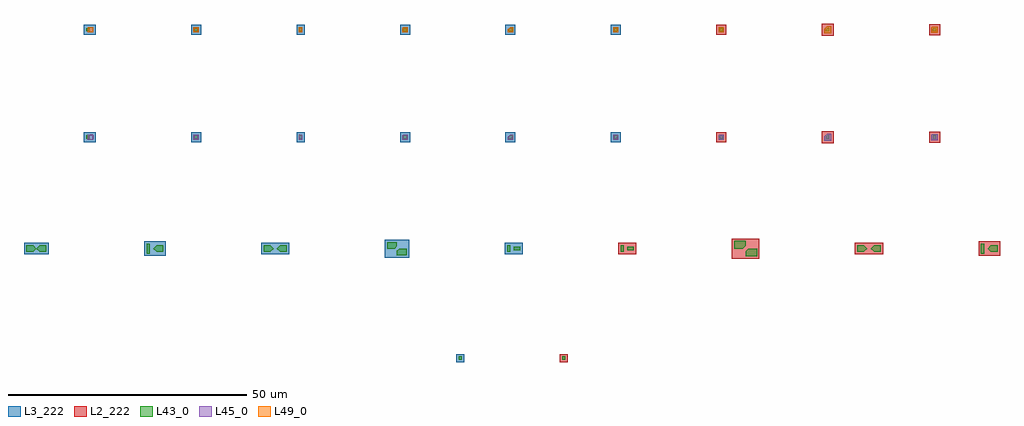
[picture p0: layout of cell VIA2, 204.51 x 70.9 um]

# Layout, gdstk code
from math import pi, radians
import gdstk
lib = gdstk.Library(unit=1e-6, precision=5e-09)
def R(c, l, rs):  # rectangles x0, y0, x1, y1
    for r in rs: c.add(gdstk.rectangle(r[:2], r[2:], *l))
def P(c, l, *ps):  # polygons
    for p in ps: c.add(gdstk.Polygon(p, *l))
L2_222 = (2, 222)
L3_222 = (3, 222)
L43_0 = (43, 0)
L45_0 = (45, 0)
L49_0 = (49, 0)

compass_layervia2_size0p = lib.new_cell('compass_layerVIA2_size0p7__0p7')
R(compass_layervia2_size0p, L43_0, [(-0.35,-0.35,0.35,0.35)])

rectangle_layervia2_size = lib.new_cell('rectangle_layerVIA2_size0p7__0p7')
rectangle_layervia2_size.add(gdstk.Reference(compass_layervia2_size0p, (0.35,0.35)))

compass_b2efa8bb = lib.new_cell('compass_b2efa8bb')
R(compass_b2efa8bb, L2_222, [(-0.85,-0.85,0.85,0.85)])

rectangle_b2efa8bb = lib.new_cell('rectangle_b2efa8bb')
rectangle_b2efa8bb.add(gdstk.Reference(compass_b2efa8bb, (0.85,0.85)))

pass_fail_mk_0a0abb23 = lib.new_cell('pass_fail_mk_0a0abb23')
pass_fail_mk_0a0abb23.add(gdstk.Reference(rectangle_b2efa8bb, (-0.5,-0.5)))
pass_fail_mk_0a0abb23.add(gdstk.Label('via2.w.1', (-0.25,-0.25), layer=11, texttype=222))

c_compass_layervia2_size0p = lib.new_cell('compass_layerVIA2_size0p69__0p69')
R(c_compass_layervia2_size0p, L43_0, [(-0.345,-0.345,0.345,0.345)])

c_rectangle_layervia2_size = lib.new_cell('rectangle_layerVIA2_size0p69__0p69')
c_rectangle_layervia2_size.add(gdstk.Reference(c_compass_layervia2_size0p, (0.345,0.345)))

compass_bd24d7c0 = lib.new_cell('compass_bd24d7c0')
R(compass_bd24d7c0, L3_222, [(-0.845,-0.845,0.845,0.845)])

rectangle_bd24d7c0 = lib.new_cell('rectangle_bd24d7c0')
rectangle_bd24d7c0.add(gdstk.Reference(compass_bd24d7c0, (0.845,0.845)))

pass_fail_mk_87252b39 = lib.new_cell('pass_fail_mk_87252b39')
pass_fail_mk_87252b39.add(gdstk.Reference(rectangle_bd24d7c0, (-0.5,-0.5)))
pass_fail_mk_87252b39.add(gdstk.Label('via2.w.1', (-0.25,-0.25), layer=11, texttype=222))

size_patterns_width0_7_l = lib.new_cell('size_patterns_width0.7_layerVIA2')
size_patterns_width0_7_l.add(gdstk.Reference(rectangle_layervia2_size, (0,0)))
size_patterns_width0_7_l.add(gdstk.Reference(pass_fail_mk_0a0abb23, (0,0)))
size_patterns_width0_7_l.add(gdstk.Reference(c_rectangle_layervia2_size, (-21.69,0.005)))
size_patterns_width0_7_l.add(gdstk.Reference(pass_fail_mk_87252b39, (-21.69,0.005)))

c_compass_layervia2_size0p_ = lib.new_cell('compass_layerVIA2_size0p7__1p4')
R(c_compass_layervia2_size0p_, L43_0, [(-0.35,-0.7,0.35,0.7)])

c_rectangle_layervia2_size_ = lib.new_cell('rectangle_layerVIA2_size0p7__1p4')
c_rectangle_layervia2_size_.add(gdstk.Reference(c_compass_layervia2_size0p_, (0.35,0.7)))

compass_layervia2_size1p = lib.new_cell('compass_layerVIA2_size1p4__0p7')
R(compass_layervia2_size1p, L43_0, [(-0.7,-0.35,0.7,0.35)])

c_rectangle_layervia2_size__ = lib.new_cell('rectangle_layerVIA2_size1p4__0p7')
c_rectangle_layervia2_size__.add(gdstk.Reference(compass_layervia2_size1p, (0.7,0.35)))

space_basic_spacing0_7_l = lib.new_cell('space_basic_spacing0.7_layer1VIA2_layer2VIA2')
space_basic_spacing0_7_l.add(gdstk.Reference(c_rectangle_layervia2_size_, (-0.7,1.05), rotation=pi))
space_basic_spacing0_7_l.add(gdstk.Reference(c_rectangle_layervia2_size__, (0,0)))

compass_77408f74 = lib.new_cell('compass_77408f74')
R(compass_77408f74, L2_222, [(-1.9,-1.2,1.9,1.2)])

rectangle_77408f74 = lib.new_cell('rectangle_77408f74')
rectangle_77408f74.add(gdstk.Reference(compass_77408f74, (1.9,1.2)))

pass_fail_mk_3b77fa31 = lib.new_cell('pass_fail_mk_3b77fa31')
pass_fail_mk_3b77fa31.add(gdstk.Reference(rectangle_77408f74, (-1.9,-0.85)))
pass_fail_mk_3b77fa31.add(gdstk.Label('via2.s.1', (-1.65,-0.6), layer=11, texttype=222))

space_basic_spacing0_69_ = lib.new_cell('space_basic_spacing0.69_layer1VIA2_layer2VIA2')
space_basic_spacing0_69_.add(gdstk.Reference(c_rectangle_layervia2_size_, (-0.69,1.05), rotation=pi))
space_basic_spacing0_69_.add(gdstk.Reference(c_rectangle_layervia2_size__, (0,0)))

compass_235e8b68 = lib.new_cell('compass_235e8b68')
R(compass_235e8b68, L3_222, [(-1.895,-1.2,1.895,1.2)])

rectangle_235e8b68 = lib.new_cell('rectangle_235e8b68')
rectangle_235e8b68.add(gdstk.Reference(compass_235e8b68, (1.895,1.2)))

pass_fail_mk_beb85390 = lib.new_cell('pass_fail_mk_beb85390')
pass_fail_mk_beb85390.add(gdstk.Reference(rectangle_235e8b68, (-1.89,-0.85)))
pass_fail_mk_beb85390.add(gdstk.Label('via2.s.1', (-1.64,-0.6), layer=11, texttype=222))

boolean_710292b4 = lib.new_cell('boolean_710292b4')
P(boolean_710292b4, L43_0, [(2.4,1.6),(0.57,1.6),(0,1.035),(0,0),(2.4,0)])

space_45deg_spacing0_799 = lib.new_cell('space_45deg_spacing0.7999999999999999_layer1VIA2_layer2VIA2')
space_45deg_spacing0_799.add(gdstk.Reference(boolean_710292b4, (0,0)))
space_45deg_spacing0_799.add(gdstk.Reference(boolean_710292b4, (0,3.2), rotation=pi))

compass_ca9d0b4a = lib.new_cell('compass_ca9d0b4a')
R(compass_ca9d0b4a, L2_222, [(-2.9,-2.1,2.9,2.1)])

rectangle_ca9d0b4a = lib.new_cell('rectangle_ca9d0b4a')
rectangle_ca9d0b4a.add(gdstk.Reference(compass_ca9d0b4a, (2.9,2.1)))

pass_fail_mk_4ae509f5 = lib.new_cell('pass_fail_mk_4ae509f5')
pass_fail_mk_4ae509f5.add(gdstk.Reference(rectangle_ca9d0b4a, (-2.9,-0.5)))
pass_fail_mk_4ae509f5.add(gdstk.Label('via2.s.1', (-2.65,-0.25), layer=11, texttype=222))

boolean_bac0e59e = lib.new_cell('boolean_bac0e59e')
P(boolean_bac0e59e, L43_0, [(2.07,1.38),(0.49,1.38),(0,0.89),(0,0),(2.07,0)])

space_45deg_spacing0_69_ = lib.new_cell('space_45deg_spacing0.69_layer1VIA2_layer2VIA2')
space_45deg_spacing0_69_.add(gdstk.Reference(boolean_bac0e59e, (0,0)))
space_45deg_spacing0_69_.add(gdstk.Reference(boolean_bac0e59e, (0,2.76), rotation=pi))

compass_da3c626a = lib.new_cell('compass_da3c626a')
R(compass_da3c626a, L3_222, [(-2.57,-1.88,2.57,1.88)])

rectangle_da3c626a = lib.new_cell('rectangle_da3c626a')
rectangle_da3c626a.add(gdstk.Reference(compass_da3c626a, (2.57,1.88)))

pass_fail_mk_4006faf3 = lib.new_cell('pass_fail_mk_4006faf3')
pass_fail_mk_4006faf3.add(gdstk.Reference(rectangle_da3c626a, (-2.57,-0.5)))
pass_fail_mk_4006faf3.add(gdstk.Label('via2.s.1', (-2.32,-0.25), layer=11, texttype=222))

boolean_8b945e49 = lib.new_cell('boolean_8b945e49')
P(boolean_8b945e49, L43_0, [(0,0),(1.4,0),(1.4,1.4),(0,1.4),(-0.7,0.7)])

boolean_934e1363 = lib.new_cell('boolean_934e1363')
P(boolean_934e1363, L43_0, [(1.4,1.4),(0,1.4),(-0.7,0.7),(0,0),(1.4,0)])

space_cor2cor_spacing0_7 = lib.new_cell('space_cor2cor_spacing0.7_layer1VIA2_layer2VIA2')
space_cor2cor_spacing0_7.add(gdstk.Reference(boolean_8b945e49, (0,0)))
space_cor2cor_spacing0_7.add(gdstk.Reference(boolean_934e1363, (-2.1,1.4), rotation=pi))

compass_ff052847 = lib.new_cell('compass_ff052847')
R(compass_ff052847, L2_222, [(-2.95,-1.2,2.95,1.2)])

rectangle_ff052847 = lib.new_cell('rectangle_ff052847')
rectangle_ff052847.add(gdstk.Reference(compass_ff052847, (2.95,1.2)))

pass_fail_mk_2c4f7481 = lib.new_cell('pass_fail_mk_2c4f7481')
pass_fail_mk_2c4f7481.add(gdstk.Reference(rectangle_ff052847, (-4,-0.5)))
pass_fail_mk_2c4f7481.add(gdstk.Label('via2.s.1', (-3.75,-0.25), layer=11, texttype=222))

space_cor2cor_spacing0_6 = lib.new_cell('space_cor2cor_spacing0.69_layer1VIA2_layer2VIA2')
space_cor2cor_spacing0_6.add(gdstk.Reference(boolean_8b945e49, (0,0)))
space_cor2cor_spacing0_6.add(gdstk.Reference(boolean_934e1363, (-2.09,1.4), rotation=pi))

compass_60b5a301 = lib.new_cell('compass_60b5a301')
R(compass_60b5a301, L3_222, [(-2.945,-1.2,2.945,1.2)])

rectangle_60b5a301 = lib.new_cell('rectangle_60b5a301')
rectangle_60b5a301.add(gdstk.Reference(compass_60b5a301, (2.945,1.2)))

pass_fail_mk_9ef87b61 = lib.new_cell('pass_fail_mk_9ef87b61')
pass_fail_mk_9ef87b61.add(gdstk.Reference(rectangle_60b5a301, (-3.99,-0.5)))
pass_fail_mk_9ef87b61.add(gdstk.Label('via2.s.1', (-3.74,-0.25), layer=11, texttype=222))

c_compass_layervia2_size0p__ = lib.new_cell('compass_layerVIA2_size0p7__2p1')
R(c_compass_layervia2_size0p__, L43_0, [(-0.35,-1.05,0.35,1.05)])

c_rectangle_layervia2_size___ = lib.new_cell('rectangle_layerVIA2_size0p7__2p1')
c_rectangle_layervia2_size___.add(gdstk.Reference(c_compass_layervia2_size0p__, (0.35,1.05)))

space_cor2edge_spacing0_ = lib.new_cell('space_cor2edge_spacing0.7_layer1VIA2_layer2VIA2')
space_cor2edge_spacing0_.add(gdstk.Reference(c_rectangle_layervia2_size___, (-2.1,-0.35)))
space_cor2edge_spacing0_.add(gdstk.Reference(boolean_8b945e49, (0,0)))

compass_0f98536f = lib.new_cell('compass_0f98536f')
R(compass_0f98536f, L2_222, [(-2.25,-1.55,2.25,1.55)])

rectangle_0f98536f = lib.new_cell('rectangle_0f98536f')
rectangle_0f98536f.add(gdstk.Reference(compass_0f98536f, (2.25,1.55)))

pass_fail_mk_1d87c08b = lib.new_cell('pass_fail_mk_1d87c08b')
pass_fail_mk_1d87c08b.add(gdstk.Reference(rectangle_0f98536f, (-2.6,-0.85)))
pass_fail_mk_1d87c08b.add(gdstk.Label('via2.s.1', (-2.35,-0.6), layer=11, texttype=222))

c_space_cor2edge_spacing0_ = lib.new_cell('space_cor2edge_spacing0.69_layer1VIA2_layer2VIA2')
c_space_cor2edge_spacing0_.add(gdstk.Reference(c_rectangle_layervia2_size___, (-2.09,-0.35)))
c_space_cor2edge_spacing0_.add(gdstk.Reference(boolean_8b945e49, (0,0)))

compass_382587ec = lib.new_cell('compass_382587ec')
R(compass_382587ec, L3_222, [(-2.245,-1.55,2.245,1.55)])

rectangle_382587ec = lib.new_cell('rectangle_382587ec')
rectangle_382587ec.add(gdstk.Reference(compass_382587ec, (2.245,1.55)))

pass_fail_mk_d72c5db2 = lib.new_cell('pass_fail_mk_d72c5db2')
pass_fail_mk_d72c5db2.add(gdstk.Reference(rectangle_382587ec, (-2.59,-0.85)))
pass_fail_mk_d72c5db2.add(gdstk.Label('via2.s.1', (-2.34,-0.6), layer=11, texttype=222))

space_singular_layer1via = lib.new_cell('space_singular_layer1VIA2_layer2VIA2')
space_singular_layer1via.add(gdstk.Reference(boolean_8b945e49, (0,0)))
space_singular_layer1via.add(gdstk.Reference(boolean_8b945e49, (-1.4,1.4), rotation=pi))

compass_ae880962 = lib.new_cell('compass_ae880962')
R(compass_ae880962, L3_222, [(-2.6,-1.2,2.6,1.2)])

rectangle_ae880962 = lib.new_cell('rectangle_ae880962')
rectangle_ae880962.add(gdstk.Reference(compass_ae880962, (2.6,1.2)))

pass_fail_mk_21274219 = lib.new_cell('pass_fail_mk_21274219')
pass_fail_mk_21274219.add(gdstk.Reference(rectangle_ae880962, (-3.3,-0.5)))
pass_fail_mk_21274219.add(gdstk.Label('via2.s.1', (-3.05,-0.25), layer=11, texttype=222))

space_patterns_width0_7_ = lib.new_cell('space_patterns_width0.7_layer1VIA2_layer2VIA2')
space_patterns_width0_7_.add(gdstk.Reference(space_basic_spacing0_7_l, (0,0)))
space_patterns_width0_7_.add(gdstk.Reference(pass_fail_mk_3b77fa31, (0,0)))
space_patterns_width0_7_.add(gdstk.Reference(space_basic_spacing0_69_, (-23.8,0)))
space_patterns_width0_7_.add(gdstk.Reference(pass_fail_mk_beb85390, (-23.8,0)))
space_patterns_width0_7_.add(gdstk.Reference(space_45deg_spacing0_799, (24.8,-1.25)))
space_patterns_width0_7_.add(gdstk.Reference(pass_fail_mk_4ae509f5, (24.8,-1.25)))
space_patterns_width0_7_.add(gdstk.Reference(space_45deg_spacing0_69_, (-48.26,-1.03)))
space_patterns_width0_7_.add(gdstk.Reference(pass_fail_mk_4006faf3, (-48.26,-1.03)))
space_patterns_width0_7_.add(gdstk.Reference(space_cor2cor_spacing0_7, (51.7,-0.35)))
space_patterns_width0_7_.add(gdstk.Reference(pass_fail_mk_2c4f7481, (51.7,-0.35)))
space_patterns_width0_7_.add(gdstk.Reference(space_cor2cor_spacing0_6, (-72.73,-0.35)))
space_patterns_width0_7_.add(gdstk.Reference(pass_fail_mk_9ef87b61, (-72.73,-0.35)))
space_patterns_width0_7_.add(gdstk.Reference(space_cor2edge_spacing0_, (76.2,-0.35)))
space_patterns_width0_7_.add(gdstk.Reference(pass_fail_mk_1d87c08b, (76.2,-0.35)))
space_patterns_width0_7_.add(gdstk.Reference(c_space_cor2edge_spacing0_, (-98.62,-0.35)))
space_patterns_width0_7_.add(gdstk.Reference(pass_fail_mk_d72c5db2, (-98.62,-0.35)))
space_patterns_width0_7_.add(gdstk.Reference(space_singular_layer1via, (-123.11,-0.35)))
space_patterns_width0_7_.add(gdstk.Reference(pass_fail_mk_21274219, (-123.11,-0.35)))

compass_layerm2_size1p1_ = lib.new_cell('compass_layerM2_size1p1__1p1')
R(compass_layerm2_size1p1_, L45_0, [(-0.55,-0.55,0.55,0.55)])

rectangle_layerm2_size1p = lib.new_cell('rectangle_layerM2_size1p1__1p1')
rectangle_layerm2_size1p.add(gdstk.Reference(compass_layerm2_size1p1_, (0.55,0.55)))

enclose_basic_enc0_2_wid = lib.new_cell('enclose_basic_enc0.2_width0.7_layer_VIA2_enc_layerM2')
enclose_basic_enc0_2_wid.add(gdstk.Reference(rectangle_layervia2_size, (0,0)))
enclose_basic_enc0_2_wid.add(gdstk.Reference(rectangle_layerm2_size1p, (-0.2,-0.2)))

compass_4d9544ad = lib.new_cell('compass_4d9544ad')
R(compass_4d9544ad, L2_222, [(-1.05,-1.05,1.05,1.05)])

rectangle_4d9544ad = lib.new_cell('rectangle_4d9544ad')
rectangle_4d9544ad.add(gdstk.Reference(compass_4d9544ad, (1.05,1.05)))

pass_fail_mk_00170668 = lib.new_cell('pass_fail_mk_00170668')
pass_fail_mk_00170668.add(gdstk.Reference(rectangle_4d9544ad, (-0.7,-0.7)))
pass_fail_mk_00170668.add(gdstk.Label('via2.en.1', (-0.45,-0.45), layer=11, texttype=222))

compass_layerm2_size1p08 = lib.new_cell('compass_layerM2_size1p08__1p08')
R(compass_layerm2_size1p08, L45_0, [(-0.54,-0.54,0.54,0.54)])

c_rectangle_layerm2_size1p = lib.new_cell('rectangle_layerM2_size1p08__1p08')
c_rectangle_layerm2_size1p.add(gdstk.Reference(compass_layerm2_size1p08, (0.54,0.54)))

enclose_basic_enc0_19_wi = lib.new_cell('enclose_basic_enc0.19_width0.7_layer_VIA2_enc_layerM2')
enclose_basic_enc0_19_wi.add(gdstk.Reference(rectangle_layervia2_size, (0,0)))
enclose_basic_enc0_19_wi.add(gdstk.Reference(c_rectangle_layerm2_size1p, (-0.19,-0.19)))

compass_09d3e0af = lib.new_cell('compass_09d3e0af')
R(compass_09d3e0af, L3_222, [(-1.04,-1.04,1.04,1.04)])

rectangle_09d3e0af = lib.new_cell('rectangle_09d3e0af')
rectangle_09d3e0af.add(gdstk.Reference(compass_09d3e0af, (1.04,1.04)))

pass_fail_mk_9cdaf983 = lib.new_cell('pass_fail_mk_9cdaf983')
pass_fail_mk_9cdaf983.add(gdstk.Reference(rectangle_09d3e0af, (-0.69,-0.69)))
pass_fail_mk_9cdaf983.add(gdstk.Label('via2.en.1', (-0.44,-0.44), layer=11, texttype=222))

boolean_3cbc6f09 = lib.new_cell('boolean_3cbc6f09')
P(boolean_3cbc6f09, L43_0, [(0.7,0.7),(0.25,0.7),(0,0.455),(0,0),(0.7,0)])

boolean_161bbef3 = lib.new_cell('boolean_161bbef3')
P(boolean_161bbef3, L45_0, [(1.1,1.1),(0.21,1.1),(-0.4,0.49),(-0.4,-0.4),(1.1,-0.4)])

enclose_45deg_enc0_4_wid = lib.new_cell('enclose_45deg_enc0.4_width0.7_layer_VIA2_enc_layerM2')
enclose_45deg_enc0_4_wid.add(gdstk.Reference(boolean_3cbc6f09, (0,0)))
enclose_45deg_enc0_4_wid.add(gdstk.Reference(boolean_161bbef3, (0,0)))

compass_d4646f12 = lib.new_cell('compass_d4646f12')
R(compass_d4646f12, L2_222, [(-1.25,-1.25,1.25,1.25)])

rectangle_d4646f12 = lib.new_cell('rectangle_d4646f12')
rectangle_d4646f12.add(gdstk.Reference(compass_d4646f12, (1.25,1.25)))

pass_fail_mk_eb5676d4 = lib.new_cell('pass_fail_mk_eb5676d4')
pass_fail_mk_eb5676d4.add(gdstk.Reference(rectangle_d4646f12, (-0.9,-0.9)))
pass_fail_mk_eb5676d4.add(gdstk.Label('via2.en.1', (-0.65,-0.65), layer=11, texttype=222))

boolean_8db4ce8d = lib.new_cell('boolean_8db4ce8d')
P(boolean_8db4ce8d, L45_0, [(0.89,0.89),(0.285,0.89),(-0.19,0.415),(-0.19,-0.19),(0.89,-0.19)])

enclose_45deg_enc0_19_wi = lib.new_cell('enclose_45deg_enc0.19_width0.7_layer_VIA2_enc_layerM2')
enclose_45deg_enc0_19_wi.add(gdstk.Reference(boolean_3cbc6f09, (0,0)))
enclose_45deg_enc0_19_wi.add(gdstk.Reference(boolean_8db4ce8d, (0,0)))

pass_fail_mk_3783c1b2 = lib.new_cell('pass_fail_mk_3783c1b2')
pass_fail_mk_3783c1b2.add(gdstk.Reference(rectangle_09d3e0af, (-0.69,-0.69)))
pass_fail_mk_3783c1b2.add(gdstk.Label('via2.en.1', (-0.44,-0.44), layer=11, texttype=222))

boolean_5236c376 = lib.new_cell('boolean_5236c376')
P(boolean_5236c376, L45_0, [(1,1),(-0.125,1),(-0.3,0.825),(-0.3,-0.3),(1,-0.3)])

enclose_cor2edge_enc0_30 = lib.new_cell('enclose_cor2edge_enc0.30000000000000004_width0.7_layer_VIA2_enc_layerM2')
enclose_cor2edge_enc0_30.add(gdstk.Reference(rectangle_layervia2_size, (0,0)))
enclose_cor2edge_enc0_30.add(gdstk.Reference(boolean_5236c376, (0,0)))

compass_6398bd07 = lib.new_cell('compass_6398bd07')
R(compass_6398bd07, L2_222, [(-1.15,-1.15,1.15,1.15)])

rectangle_6398bd07 = lib.new_cell('rectangle_6398bd07')
rectangle_6398bd07.add(gdstk.Reference(compass_6398bd07, (1.15,1.15)))

pass_fail_mk_cff3b940 = lib.new_cell('pass_fail_mk_cff3b940')
pass_fail_mk_cff3b940.add(gdstk.Reference(rectangle_6398bd07, (-0.8,-0.8)))
pass_fail_mk_cff3b940.add(gdstk.Label('via2.en.1', (-0.55,-0.55), layer=11, texttype=222))

boolean_c2c6d198 = lib.new_cell('boolean_c2c6d198')
P(boolean_c2c6d198, L45_0, [(0.89,0.89),(-0.08,0.89),(-0.19,0.78),(-0.19,-0.19),(0.89,-0.19)])

enclose_cor2edge_enc0_19 = lib.new_cell('enclose_cor2edge_enc0.19_width0.7_layer_VIA2_enc_layerM2')
enclose_cor2edge_enc0_19.add(gdstk.Reference(rectangle_layervia2_size, (0,0)))
enclose_cor2edge_enc0_19.add(gdstk.Reference(boolean_c2c6d198, (0,0)))

pass_fail_mk_bc2dd674 = lib.new_cell('pass_fail_mk_bc2dd674')
pass_fail_mk_bc2dd674.add(gdstk.Reference(rectangle_09d3e0af, (-0.69,-0.69)))
pass_fail_mk_bc2dd674.add(gdstk.Label('via2.en.1', (-0.44,-0.44), layer=11, texttype=222))

compass_layerm2_size0p7_ = lib.new_cell('compass_layerM2_size0p7__1p08')
R(compass_layerm2_size0p7_, L45_0, [(-0.35,-0.54,0.35,0.54)])

rectangle_layerm2_size0p = lib.new_cell('rectangle_layerM2_size0p7__1p08')
rectangle_layerm2_size0p.add(gdstk.Reference(compass_layerm2_size0p7_, (0.35,0.54)))

enclose_touch_enc0_19_wi = lib.new_cell('enclose_touch_enc0.19_width0.7_layer_VIA2_enc_layerM2')
enclose_touch_enc0_19_wi.add(gdstk.Reference(rectangle_layervia2_size, (0,0)))
enclose_touch_enc0_19_wi.add(gdstk.Reference(rectangle_layerm2_size0p, (0,-0.19)))

compass_11993e2e = lib.new_cell('compass_11993e2e')
R(compass_11993e2e, L3_222, [(-0.85,-1.04,0.85,1.04)])

rectangle_11993e2e = lib.new_cell('rectangle_11993e2e')
rectangle_11993e2e.add(gdstk.Reference(compass_11993e2e, (0.85,1.04)))

pass_fail_mk_c0cbd01d = lib.new_cell('pass_fail_mk_c0cbd01d')
pass_fail_mk_c0cbd01d.add(gdstk.Reference(rectangle_11993e2e, (-0.5,-0.69)))
pass_fail_mk_c0cbd01d.add(gdstk.Label('via2.en.1', (-0.25,-0.44), layer=11, texttype=222))

boolean_4a46e342 = lib.new_cell('boolean_4a46e342')
P(boolean_4a46e342, L45_0, [(0.9,0.9),(-0.2,0.9),(-0.2,0.09),(0.09,0.09),(0.09,0.61),(0.61,0.61),(0.61,0.09),(0.09,0.09),(-0.2,0.09),(-0.2,-0.2),(0.9,-0.2)])

enclose_hole_enc0_2_widt = lib.new_cell('enclose_hole_enc0.2_width0.7_layer_VIA2_enc_layerM2')
enclose_hole_enc0_2_widt.add(gdstk.Reference(rectangle_layervia2_size, (0,0)))
enclose_hole_enc0_2_widt.add(gdstk.Reference(boolean_4a46e342, (0,0)))

compass_68271b65 = lib.new_cell('compass_68271b65')
R(compass_68271b65, L3_222, [(-1.05,-1.05,1.05,1.05)])

rectangle_68271b65 = lib.new_cell('rectangle_68271b65')
rectangle_68271b65.add(gdstk.Reference(compass_68271b65, (1.05,1.05)))

pass_fail_mk_65d9b92f = lib.new_cell('pass_fail_mk_65d9b92f')
pass_fail_mk_65d9b92f.add(gdstk.Reference(rectangle_68271b65, (-0.7,-0.7)))
pass_fail_mk_65d9b92f.add(gdstk.Label('via2.en.1', (-0.45,-0.45), layer=11, texttype=222))

enclose_intersect_enc0_2 = lib.new_cell('enclose_intersect_enc0.2_width0.7_layer_VIA2_enc_layerM2')
enclose_intersect_enc0_2.add(gdstk.Reference(rectangle_layervia2_size, (-0.55,0)))
enclose_intersect_enc0_2.add(gdstk.Reference(rectangle_layerm2_size1p, (-0.2,-0.2)))

compass_78b57009 = lib.new_cell('compass_78b57009')
R(compass_78b57009, L3_222, [(-1.225,-1.05,1.225,1.05)])

rectangle_78b57009 = lib.new_cell('rectangle_78b57009')
rectangle_78b57009.add(gdstk.Reference(compass_78b57009, (1.225,1.05)))

pass_fail_mk_0c227bd1 = lib.new_cell('pass_fail_mk_0c227bd1')
pass_fail_mk_0c227bd1.add(gdstk.Reference(rectangle_78b57009, (-1.05,-0.7)))
pass_fail_mk_0c227bd1.add(gdstk.Label('via2.en.1', (-0.8,-0.45), layer=11, texttype=222))

enclose_patterns_enclosu = lib.new_cell('enclose_patterns_enclosure0.2_width0.7_layerVIA2_enc_layerM2')
enclose_patterns_enclosu.add(gdstk.Reference(enclose_basic_enc0_2_wid, (0,0)))
enclose_patterns_enclosu.add(gdstk.Reference(pass_fail_mk_00170668, (0,0)))
enclose_patterns_enclosu.add(gdstk.Reference(enclose_basic_enc0_19_wi, (-22.09,0)))
enclose_patterns_enclosu.add(gdstk.Reference(pass_fail_mk_9cdaf983, (-22.09,0)))
enclose_patterns_enclosu.add(gdstk.Reference(enclose_45deg_enc0_4_wid, (22.3,0)))
enclose_patterns_enclosu.add(gdstk.Reference(pass_fail_mk_eb5676d4, (22.3,0)))
enclose_patterns_enclosu.add(gdstk.Reference(enclose_45deg_enc0_19_wi, (-44.17,0)))
enclose_patterns_enclosu.add(gdstk.Reference(pass_fail_mk_3783c1b2, (-44.17,0)))
enclose_patterns_enclosu.add(gdstk.Reference(enclose_cor2edge_enc0_30, (44.7,0)))
enclose_patterns_enclosu.add(gdstk.Reference(pass_fail_mk_cff3b940, (44.7,0)))
enclose_patterns_enclosu.add(gdstk.Reference(enclose_cor2edge_enc0_19, (-66.25,0)))
enclose_patterns_enclosu.add(gdstk.Reference(pass_fail_mk_bc2dd674, (-66.25,0)))
enclose_patterns_enclosu.add(gdstk.Reference(enclose_touch_enc0_19_wi, (-88.14,0)))
enclose_patterns_enclosu.add(gdstk.Reference(pass_fail_mk_c0cbd01d, (-88.14,0)))
enclose_patterns_enclosu.add(gdstk.Reference(enclose_hole_enc0_2_widt, (-110.04,0)))
enclose_patterns_enclosu.add(gdstk.Reference(pass_fail_mk_65d9b92f, (-110.04,0)))
enclose_patterns_enclosu.add(gdstk.Reference(enclose_intersect_enc0_2, (-132.14,0)))
enclose_patterns_enclosu.add(gdstk.Reference(pass_fail_mk_0c227bd1, (-132.14,0)))

compass_layerm3_size1p1_ = lib.new_cell('compass_layerM3_size1p1__1p1')
R(compass_layerm3_size1p1_, L49_0, [(-0.55,-0.55,0.55,0.55)])

rectangle_layerm3_size1p = lib.new_cell('rectangle_layerM3_size1p1__1p1')
rectangle_layerm3_size1p.add(gdstk.Reference(compass_layerm3_size1p1_, (0.55,0.55)))

c_enclose_basic_enc0_2_wid = lib.new_cell('enclose_basic_enc0.2_width0.7_layer_VIA2_enc_layerM3')
c_enclose_basic_enc0_2_wid.add(gdstk.Reference(rectangle_layervia2_size, (0,0)))
c_enclose_basic_enc0_2_wid.add(gdstk.Reference(rectangle_layerm3_size1p, (-0.2,-0.2)))

pass_fail_mk_1a9cbb64 = lib.new_cell('pass_fail_mk_1a9cbb64')
pass_fail_mk_1a9cbb64.add(gdstk.Reference(rectangle_4d9544ad, (-0.7,-0.7)))
pass_fail_mk_1a9cbb64.add(gdstk.Label('via2.en.2', (-0.45,-0.45), layer=11, texttype=222))

compass_layerm3_size1p08 = lib.new_cell('compass_layerM3_size1p08__1p08')
R(compass_layerm3_size1p08, L49_0, [(-0.54,-0.54,0.54,0.54)])

c_rectangle_layerm3_size1p = lib.new_cell('rectangle_layerM3_size1p08__1p08')
c_rectangle_layerm3_size1p.add(gdstk.Reference(compass_layerm3_size1p08, (0.54,0.54)))

c_enclose_basic_enc0_19_wi = lib.new_cell('enclose_basic_enc0.19_width0.7_layer_VIA2_enc_layerM3')
c_enclose_basic_enc0_19_wi.add(gdstk.Reference(rectangle_layervia2_size, (0,0)))
c_enclose_basic_enc0_19_wi.add(gdstk.Reference(c_rectangle_layerm3_size1p, (-0.19,-0.19)))

pass_fail_mk_9712126b = lib.new_cell('pass_fail_mk_9712126b')
pass_fail_mk_9712126b.add(gdstk.Reference(rectangle_09d3e0af, (-0.69,-0.69)))
pass_fail_mk_9712126b.add(gdstk.Label('via2.en.2', (-0.44,-0.44), layer=11, texttype=222))

boolean_1b2d43b0 = lib.new_cell('boolean_1b2d43b0')
P(boolean_1b2d43b0, L49_0, [(1.1,1.1),(0.21,1.1),(-0.4,0.49),(-0.4,-0.4),(1.1,-0.4)])

c_enclose_45deg_enc0_4_wid = lib.new_cell('enclose_45deg_enc0.4_width0.7_layer_VIA2_enc_layerM3')
c_enclose_45deg_enc0_4_wid.add(gdstk.Reference(boolean_3cbc6f09, (0,0)))
c_enclose_45deg_enc0_4_wid.add(gdstk.Reference(boolean_1b2d43b0, (0,0)))

pass_fail_mk_66240ae8 = lib.new_cell('pass_fail_mk_66240ae8')
pass_fail_mk_66240ae8.add(gdstk.Reference(rectangle_d4646f12, (-0.9,-0.9)))
pass_fail_mk_66240ae8.add(gdstk.Label('via2.en.2', (-0.65,-0.65), layer=11, texttype=222))

boolean_058e4cc9 = lib.new_cell('boolean_058e4cc9')
P(boolean_058e4cc9, L49_0, [(0.89,0.89),(0.285,0.89),(-0.19,0.415),(-0.19,-0.19),(0.89,-0.19)])

c_enclose_45deg_enc0_19_wi = lib.new_cell('enclose_45deg_enc0.19_width0.7_layer_VIA2_enc_layerM3')
c_enclose_45deg_enc0_19_wi.add(gdstk.Reference(boolean_3cbc6f09, (0,0)))
c_enclose_45deg_enc0_19_wi.add(gdstk.Reference(boolean_058e4cc9, (0,0)))

pass_fail_mk_a4e48d2a = lib.new_cell('pass_fail_mk_a4e48d2a')
pass_fail_mk_a4e48d2a.add(gdstk.Reference(rectangle_09d3e0af, (-0.69,-0.69)))
pass_fail_mk_a4e48d2a.add(gdstk.Label('via2.en.2', (-0.44,-0.44), layer=11, texttype=222))

boolean_6a6a2390 = lib.new_cell('boolean_6a6a2390')
P(boolean_6a6a2390, L49_0, [(1,1),(-0.125,1),(-0.3,0.825),(-0.3,-0.3),(1,-0.3)])

c_enclose_cor2edge_enc0_30 = lib.new_cell('enclose_cor2edge_enc0.30000000000000004_width0.7_layer_VIA2_enc_layerM3')
c_enclose_cor2edge_enc0_30.add(gdstk.Reference(rectangle_layervia2_size, (0,0)))
c_enclose_cor2edge_enc0_30.add(gdstk.Reference(boolean_6a6a2390, (0,0)))

pass_fail_mk_22e47566 = lib.new_cell('pass_fail_mk_22e47566')
pass_fail_mk_22e47566.add(gdstk.Reference(rectangle_6398bd07, (-0.8,-0.8)))
pass_fail_mk_22e47566.add(gdstk.Label('via2.en.2', (-0.55,-0.55), layer=11, texttype=222))

boolean_d8cb32d6 = lib.new_cell('boolean_d8cb32d6')
P(boolean_d8cb32d6, L49_0, [(0.89,0.89),(-0.08,0.89),(-0.19,0.78),(-0.19,-0.19),(0.89,-0.19)])

c_enclose_cor2edge_enc0_19 = lib.new_cell('enclose_cor2edge_enc0.19_width0.7_layer_VIA2_enc_layerM3')
c_enclose_cor2edge_enc0_19.add(gdstk.Reference(rectangle_layervia2_size, (0,0)))
c_enclose_cor2edge_enc0_19.add(gdstk.Reference(boolean_d8cb32d6, (0,0)))

pass_fail_mk_f26b083d = lib.new_cell('pass_fail_mk_f26b083d')
pass_fail_mk_f26b083d.add(gdstk.Reference(rectangle_09d3e0af, (-0.69,-0.69)))
pass_fail_mk_f26b083d.add(gdstk.Label('via2.en.2', (-0.44,-0.44), layer=11, texttype=222))

compass_layerm3_size0p7_ = lib.new_cell('compass_layerM3_size0p7__1p08')
R(compass_layerm3_size0p7_, L49_0, [(-0.35,-0.54,0.35,0.54)])

rectangle_layerm3_size0p = lib.new_cell('rectangle_layerM3_size0p7__1p08')
rectangle_layerm3_size0p.add(gdstk.Reference(compass_layerm3_size0p7_, (0.35,0.54)))

c_enclose_touch_enc0_19_wi = lib.new_cell('enclose_touch_enc0.19_width0.7_layer_VIA2_enc_layerM3')
c_enclose_touch_enc0_19_wi.add(gdstk.Reference(rectangle_layervia2_size, (0,0)))
c_enclose_touch_enc0_19_wi.add(gdstk.Reference(rectangle_layerm3_size0p, (0,-0.19)))

pass_fail_mk_ec6a4260 = lib.new_cell('pass_fail_mk_ec6a4260')
pass_fail_mk_ec6a4260.add(gdstk.Reference(rectangle_11993e2e, (-0.5,-0.69)))
pass_fail_mk_ec6a4260.add(gdstk.Label('via2.en.2', (-0.25,-0.44), layer=11, texttype=222))

boolean_0775ec70 = lib.new_cell('boolean_0775ec70')
P(boolean_0775ec70, L49_0, [(0.9,0.9),(-0.2,0.9),(-0.2,0.09),(0.09,0.09),(0.09,0.61),(0.61,0.61),(0.61,0.09),(0.09,0.09),(-0.2,0.09),(-0.2,-0.2),(0.9,-0.2)])

c_enclose_hole_enc0_2_widt = lib.new_cell('enclose_hole_enc0.2_width0.7_layer_VIA2_enc_layerM3')
c_enclose_hole_enc0_2_widt.add(gdstk.Reference(rectangle_layervia2_size, (0,0)))
c_enclose_hole_enc0_2_widt.add(gdstk.Reference(boolean_0775ec70, (0,0)))

pass_fail_mk_e1065716 = lib.new_cell('pass_fail_mk_e1065716')
pass_fail_mk_e1065716.add(gdstk.Reference(rectangle_68271b65, (-0.7,-0.7)))
pass_fail_mk_e1065716.add(gdstk.Label('via2.en.2', (-0.45,-0.45), layer=11, texttype=222))

c_enclose_intersect_enc0_2 = lib.new_cell('enclose_intersect_enc0.2_width0.7_layer_VIA2_enc_layerM3')
c_enclose_intersect_enc0_2.add(gdstk.Reference(rectangle_layervia2_size, (-0.55,0)))
c_enclose_intersect_enc0_2.add(gdstk.Reference(rectangle_layerm3_size1p, (-0.2,-0.2)))

pass_fail_mk_fd0d5973 = lib.new_cell('pass_fail_mk_fd0d5973')
pass_fail_mk_fd0d5973.add(gdstk.Reference(rectangle_78b57009, (-1.05,-0.7)))
pass_fail_mk_fd0d5973.add(gdstk.Label('via2.en.2', (-0.8,-0.45), layer=11, texttype=222))

c_enclose_patterns_enclosu = lib.new_cell('enclose_patterns_enclosure0.2_width0.7_layerVIA2_enc_layerM3')
c_enclose_patterns_enclosu.add(gdstk.Reference(c_enclose_basic_enc0_2_wid, (0,0)))
c_enclose_patterns_enclosu.add(gdstk.Reference(pass_fail_mk_1a9cbb64, (0,0)))
c_enclose_patterns_enclosu.add(gdstk.Reference(c_enclose_basic_enc0_19_wi, (-22.09,0)))
c_enclose_patterns_enclosu.add(gdstk.Reference(pass_fail_mk_9712126b, (-22.09,0)))
c_enclose_patterns_enclosu.add(gdstk.Reference(c_enclose_45deg_enc0_4_wid, (22.3,0)))
c_enclose_patterns_enclosu.add(gdstk.Reference(pass_fail_mk_66240ae8, (22.3,0)))
c_enclose_patterns_enclosu.add(gdstk.Reference(c_enclose_45deg_enc0_19_wi, (-44.17,0)))
c_enclose_patterns_enclosu.add(gdstk.Reference(pass_fail_mk_a4e48d2a, (-44.17,0)))
c_enclose_patterns_enclosu.add(gdstk.Reference(c_enclose_cor2edge_enc0_30, (44.7,0)))
c_enclose_patterns_enclosu.add(gdstk.Reference(pass_fail_mk_22e47566, (44.7,0)))
c_enclose_patterns_enclosu.add(gdstk.Reference(c_enclose_cor2edge_enc0_19, (-66.25,0)))
c_enclose_patterns_enclosu.add(gdstk.Reference(pass_fail_mk_f26b083d, (-66.25,0)))
c_enclose_patterns_enclosu.add(gdstk.Reference(c_enclose_touch_enc0_19_wi, (-88.14,0)))
c_enclose_patterns_enclosu.add(gdstk.Reference(pass_fail_mk_ec6a4260, (-88.14,0)))
c_enclose_patterns_enclosu.add(gdstk.Reference(c_enclose_hole_enc0_2_widt, (-110.04,0)))
c_enclose_patterns_enclosu.add(gdstk.Reference(pass_fail_mk_e1065716, (-110.04,0)))
c_enclose_patterns_enclosu.add(gdstk.Reference(c_enclose_intersect_enc0_2, (-132.14,0)))
c_enclose_patterns_enclosu.add(gdstk.Reference(pass_fail_mk_fd0d5973, (-132.14,0)))

via2 = lib.new_cell('VIA2')
via2.add(gdstk.Reference(size_patterns_width0_7_l, (0,0)))
via2.add(gdstk.Reference(space_patterns_width0_7_, (13.66,22.95)))
via2.add(gdstk.Reference(enclose_patterns_enclosu, (33,46.3)))
via2.add(gdstk.Reference(c_enclose_patterns_enclosu, (33,68.8)))

lib.write_gds('VIA2.gds')
